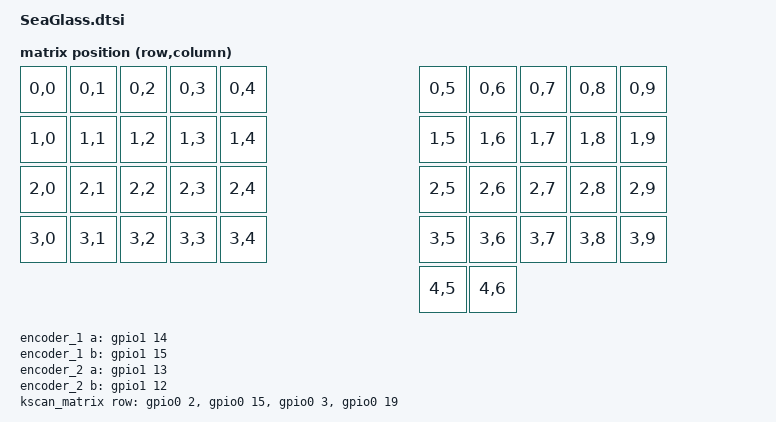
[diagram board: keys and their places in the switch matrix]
#include <dt-bindings/zmk/matrix_transform.h>
#include <physical_layouts.dtsi>

/ {
    chosen {
        zmk,physical-layout = &SeaGlass_physical_layout;
        zmk,kscan = &kscan_composite;
    };
    
    SeaGlass_physical_layout: SeaGlass_physical_layout {
        compatible = "zmk,physical-layout";
        display-name = "Default";
        transform = <&default_transform>;
        kscan = <&kscan_composite>;

        keys 
            = <&key_physical_attrs 100 100    0    0       0     0     0>
            , <&key_physical_attrs 100 100  100    0       0     0     0>
            , <&key_physical_attrs 100 100  200    0       0     0     0>
            , <&key_physical_attrs 100 100  300    0       0     0     0>
            , <&key_physical_attrs 100 100  400    0       0     0     0>

            , <&key_physical_attrs 100 100  800    0       0     0     0>
            , <&key_physical_attrs 100 100  900    0       0     0     0>
            , <&key_physical_attrs 100 100 1000    0       0     0     0>
            , <&key_physical_attrs 100 100 1100    0       0     0     0>
            , <&key_physical_attrs 100 100 1200    0       0     0     0>

            , <&key_physical_attrs 100 100    0  100       0     0     0>
            , <&key_physical_attrs 100 100  100  100       0     0     0>
            , <&key_physical_attrs 100 100  200  100       0     0     0>
            , <&key_physical_attrs 100 100  300  100       0     0     0>
            , <&key_physical_attrs 100 100  400  100       0     0     0>

            , <&key_physical_attrs 100 100  800  100       0     0     0>
            , <&key_physical_attrs 100 100  900  100       0     0     0>
            , <&key_physical_attrs 100 100 1000  100       0     0     0>
            , <&key_physical_attrs 100 100 1100  100       0     0     0>
            , <&key_physical_attrs 100 100 1200  100       0     0     0>

            , <&key_physical_attrs 100 100    0  200       0     0     0>
            , <&key_physical_attrs 100 100  100  200       0     0     0>
            , <&key_physical_attrs 100 100  200  200       0     0     0>
            , <&key_physical_attrs 100 100  300  200       0     0     0>
            , <&key_physical_attrs 100 100  400  200       0     0     0>

            , <&key_physical_attrs 100 100  800  200       0     0     0>
            , <&key_physical_attrs 100 100  900  200       0     0     0>
            , <&key_physical_attrs 100 100 1000  200       0     0     0>
            , <&key_physical_attrs 100 100 1100  200       0     0     0>
            , <&key_physical_attrs 100 100 1200  200       0     0     0>

            , <&key_physical_attrs 100 100    0  300       0     0     0>
            , <&key_physical_attrs 100 100  100  300       0     0     0>
            , <&key_physical_attrs 100 100  200  300       0     0     0>
            , <&key_physical_attrs 100 100  300  300       0     0     0>
            , <&key_physical_attrs 100 100  400  300       0     0     0>

            , <&key_physical_attrs 100 100  800  300       0     0     0>
            , <&key_physical_attrs 100 100  900  300       0     0     0>
            , <&key_physical_attrs 100 100 1000  300       0     0     0>
            , <&key_physical_attrs 100 100 1100  300       0     0     0>
            , <&key_physical_attrs 100 100 1200  300       0     0     0>

            , <&key_physical_attrs 100 100  800  400  0 0 0> /* Directキー1 (MB1) */
            , <&key_physical_attrs 100 100  900  400  0 0 0> /* Directキー2 (MB2) */
            ;
    };

    default_transform: keymap_transform_0 {
        compatible = "zmk,matrix-transform";
        columns = <10>;
        rows = <4>;
        map = <
            RC(0,0) RC(0,1) RC(0,2) RC(0,3) RC(0,4)                     RC(0,5) RC(0,6) RC(0,7) RC(0,8) RC(0,9)
            RC(1,0) RC(1,1) RC(1,2) RC(1,3) RC(1,4)                     RC(1,5) RC(1,6) RC(1,7) RC(1,8) RC(1,9)
            RC(2,0) RC(2,1) RC(2,2) RC(2,3) RC(2,4)                     RC(2,5) RC(2,6) RC(2,7) RC(2,8) RC(2,9)
            RC(3,0) RC(3,1) RC(3,2) RC(3,3) RC(3,4)                     RC(3,5) RC(3,6) RC(3,7) RC(3,8) RC(3,9)
                                                                        RC(4,5) RC(4,6)
        >;
    };
    
    kscan_composite: kscan_composite {
        compatible = "zmk,kscan-composite";
        rows = <5>;
        columns = <5>;

        matrix {
            kscan = <&kscan_matrix>;
        };
    };

    encoder_1: encoder_1 {
        compatible = "alps,ec11";
        a-gpios = <&gpio1 14 (GPIO_ACTIVE_LOW | GPIO_PULL_UP)>;
        b-gpios = <&gpio1 15 (GPIO_ACTIVE_LOW | GPIO_PULL_UP)>;
        steps = <24>;
        status = "disabled";
    };


    encoder_2:  encoder_2 {
        compatible = "alps,ec11";
        a-gpios = <&gpio1 13 (GPIO_ACTIVE_LOW | GPIO_PULL_UP)>;
        b-gpios = <&gpio1 12 (GPIO_ACTIVE_LOW | GPIO_PULL_UP)>;
        steps = <24>;
        status = "disabled";
    };

    sensors: sensors {
        compatible = "zmk,keymap-sensors";
        sensors = <&encoder_1 &encoder_2>;
        encoder_1 {
            triggers-per-rotation = <24>;
        };
        encoder_2 {
            triggers-per-rotation = <24>;
        };

    };

    chg_stat: chg_stat {
        compatible = "custom,chg-stat";
        /* Adjust for your board, e.g., P0.17 for XIAO nRF52840 */
        gpios = <&gpio0 17 GPIO_ACTIVE_LOW>;
        status = "okay";
    };


    kscan_matrix: kscan_matrix {
        compatible = "zmk,kscan-gpio-matrix";
        label = "KSCAN";
        diode-direction = "col2row";
        row-gpios
            = <&gpio0 2 (GPIO_ACTIVE_HIGH | GPIO_PULL_DOWN)>
            , <&gpio0 15 (GPIO_ACTIVE_HIGH | GPIO_PULL_DOWN)>
            , <&gpio0 3 (GPIO_ACTIVE_HIGH | GPIO_PULL_DOWN)>
            , <&gpio0 19 (GPIO_ACTIVE_HIGH | GPIO_PULL_DOWN)>
            ;
    };
};
